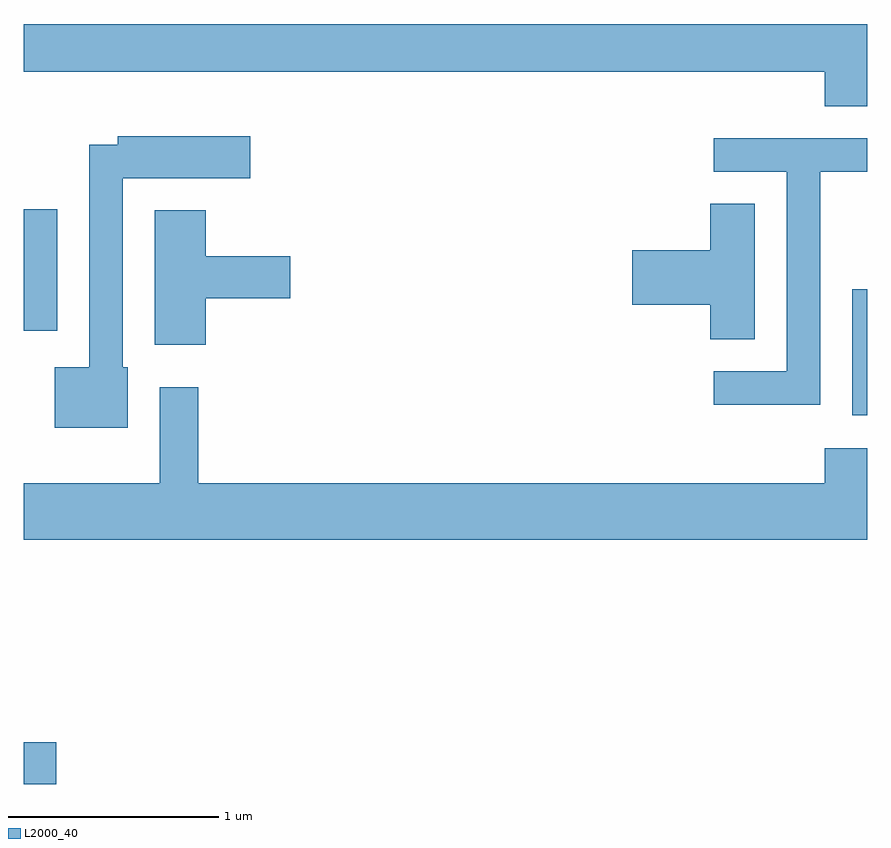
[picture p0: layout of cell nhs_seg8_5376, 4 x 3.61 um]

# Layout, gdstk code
import gdstk
lib = gdstk.Library(unit=1e-6, precision=1e-09)
def R(c, l, rs):  # rectangles x0, y0, x1, y1
    for r in rs: c.add(gdstk.rectangle(r[:2], r[2:], *l))
def P(c, l, *ps):  # polygons
    for p in ps: c.add(gdstk.Polygon(p, *l))
L2000_40 = (2000, 40)

nhs_seg8_5376 = lib.new_cell('nhs_seg8_5376')
R(nhs_seg8_5376, L2000_40, [(345.611,1910.736,345.764,1910.934), (349.541,1912.486,349.611,1913.084), (345.611,1912.886,345.769,1913.464)])
P(nhs_seg8_5376, L2000_40, [(345.611,1914.116),(349.411,1914.116),(349.411,1913.951),(349.611,1913.951),(349.611,1914.342),(345.611,1914.342)],
  [(346.104,1912.714),(346.079,1912.714),(346.079,1913.611),(346.684,1913.611),(346.684,1913.809),(346.056,1913.809),(346.056,1913.769),(345.921,1913.769),(345.921,1912.714),(345.756,1912.714),(345.756,1912.426),(346.104,1912.426)],
  [(349.389,1913.641),(349.611,1913.641),(349.611,1913.799),(348.883,1913.799),(348.883,1913.641),(349.231,1913.641),(349.231,1912.694),(348.883,1912.694),(348.883,1912.536),(349.389,1912.536)],
  [(349.079,1913.489),(348.866,1913.489),(348.866,1913.269),(348.496,1913.269),(348.496,1913.011),(348.866,1913.011),(348.866,1912.846),(349.079,1912.846)],
  [(346.474,1913.041),(346.874,1913.041),(346.874,1913.239),(346.474,1913.239),(346.474,1913.459),(346.231,1913.459),(346.231,1912.821),(346.474,1912.821)],
  [(349.611,1912.329),(349.411,1912.329),(349.411,1912.164),(346.439,1912.164),(346.439,1912.619),(346.256,1912.619),(346.256,1912.164),(345.611,1912.164),(345.611,1911.896),(349.611,1911.896)])

lib.write_gds('nhs_seg8_5376.gds')
